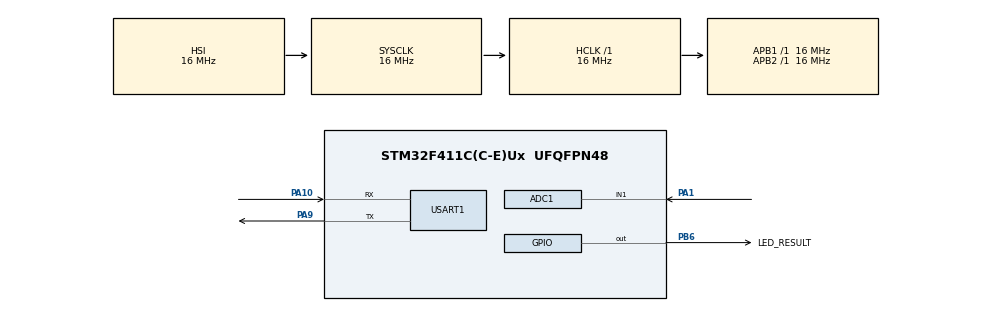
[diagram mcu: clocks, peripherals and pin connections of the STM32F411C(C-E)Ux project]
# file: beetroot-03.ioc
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ADC1.Channel-1\#ChannelRegularConversion=ADC_CHANNEL_1
ADC1.Channel-2\#ChannelRegularConversion=ADC_CHANNEL_VREFINT
ADC1.ContinuousConvMode=DISABLE
ADC1.NbrOfConversion=2
ADC1.NbrOfConversionFlag=1
ADC1.Rank-1\#ChannelRegularConversion=1
ADC1.Rank-2\#ChannelRegularConversion=2
ADC1.SamplingTime-1\#ChannelRegularConversion=ADC_SAMPLETIME_480CYCLES
ADC1.SamplingTime-2\#ChannelRegularConversion=ADC_SAMPLETIME_480CYCLES
ADC1.ScanConvMode=ENABLE
ADC1.master=1
Dma.ADC1.0.Direction=DMA_PERIPH_TO_MEMORY
Dma.ADC1.0.FIFOMode=DMA_FIFOMODE_DISABLE
Dma.ADC1.0.Instance=DMA2_Stream0
Dma.ADC1.0.MemDataAlignment=DMA_MDATAALIGN_HALFWORD
Dma.ADC1.0.MemInc=DMA_MINC_ENABLE
Dma.ADC1.0.Mode=DMA_NORMAL
Dma.ADC1.0.PeriphDataAlignment=DMA_PDATAALIGN_HALFWORD
Dma.ADC1.0.PeriphInc=DMA_PINC_DISABLE
Dma.ADC1.0.Priority=DMA_PRIORITY_LOW
Dma.Request0=ADC1
Mcu.Family=STM32F4
Mcu.Name=STM32F411C(C-E)Ux
Mcu.Package=UFQFPN48
NVIC.DMA2_Stream0_IRQn=true\:0\:0\:false\:false\:true\:false\:true\:true
NVIC.PriorityGroup=NVIC_PRIORITYGROUP_4
PA1.Signal=ADCx_IN1
PA10.Mode=Asynchronous
PA10.Signal=USART1_RX
PA13.Mode=Serial_Wire
PA13.Signal=SYS_JTMS-SWDIO
PA14.Mode=Serial_Wire
PA14.Signal=SYS_JTCK-SWCLK
PA9.Mode=Asynchronous
PA9.Signal=USART1_TX
PB6.GPIO_Label=LED_RESULT
PB6.Signal=GPIO_Output
ProjectManager.HeapSize=0x200
ProjectManager.StackSize=0x400
ProjectManager.TargetToolchain=CMake
RCC.AHBFreq_Value=16000000
RCC.APB1Freq_Value=16000000
RCC.APB2Freq_Value=16000000
RCC.CortexFreq_Value=16000000
RCC.HSE_VALUE=25000000
RCC.HSI_VALUE=16000000
RCC.LSE_VALUE=32768
RCC.SYSCLKFreq_VALUE=16000000
RCC.VCOOutputFreq_Value=192000000
SH.ADCx_IN1.0=ADC1_IN1,IN1
USART1.VirtualMode=VM_ASYNC
VP_ADC1_Vref_Input.Mode=IN-Vrefint
board=custom

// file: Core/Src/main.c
/* USER CODE BEGIN Header */
/**
  ******************************************************************************
  * @file           : main.c
  * @brief          : Main program body
  ******************************************************************************
  * @attention
  *
  * Copyright (c) 2026 STMicroelectronics.
  * All rights reserved.
  *
  * This software is licensed under terms that can be found in the LICENSE file
  * in the root directory of this software component.
  * If no LICENSE file comes with this software, it is provided AS-IS.
  *
  ******************************************************************************
  */
/* USER CODE END Header */
#include "main.h"

/* USER CODE BEGIN Includes */
#include <stdio.h>
/* USER CODE END Includes */

ADC_HandleTypeDef hadc1;
DMA_HandleTypeDef hdma_adc1;

UART_HandleTypeDef huart1;

void SystemClock_Config(void);
static void MX_GPIO_Init(void);
static void MX_DMA_Init(void);
static void MX_ADC1_Init(void);
static void MX_USART1_UART_Init(void);

/* USER CODE BEGIN 0 */
typedef struct {
  uint16_t raw;
  uint16_t vrefint_raw;
  float    v_raw;   // за формулою з 3.3 В
  float    vdda;    // реальна VDDA
  float    v_cal;   // калібрована
  float    err_pct; // похибка, %
} adc_sample_t;
static volatile adc_sample_t actual_sample;

static uint16_t adc_buf[2];          // [0] = IN1, [1] = VREFINT
static volatile uint8_t adc_done = 0;

void HAL_ADC_ConvCpltCallback(ADC_HandleTypeDef *hadc)
{
  if (hadc->Instance == ADC1)
  {
    adc_done = 1;
  }
}
/* USER CODE END 0 */

int main(void)
{

  /* MCU Configuration--------------------------------------------------------*/

  /* Reset of all peripherals, Initializes the Flash interface and the Systick. */
  HAL_Init();

  /* Configure the system clock */
  SystemClock_Config();

  /* Initialize all configured peripherals */
  MX_GPIO_Init();
  MX_DMA_Init();
  MX_ADC1_Init();
  MX_USART1_UART_Init();

  /* Infinite loop */
  /* USER CODE BEGIN WHILE */
  uint32_t t_last = 0;
  uint16_t vrefint_cal = *VREFINT_CAL_ADDR;

  while (1)
  {
    if (HAL_GetTick() - t_last >= 100) {
      t_last += 100;
      HAL_ADC_Start_DMA(&hadc1, (uint32_t *)adc_buf, 2);
    }
    if (adc_done) {
      adc_done = 0;

      uint16_t raw = adc_buf[0];
      uint16_t vrefint_raw = adc_buf[1];
      float v_raw =  raw * 3.3 / 4095;
      float vdda = 3.3 * vrefint_cal / vrefint_raw;
      float v_cal = raw * vdda / 4095;
      float err_pct = (v_raw - v_cal) / v_cal * 100;

      actual_sample = (adc_sample_t){
        .raw = raw,
        .vrefint_raw = vrefint_raw,
        .v_raw = v_raw,
        .vdda = vdda,
        .v_cal = v_cal,
        .err_pct = err_pct
      };

      char msg[128];
      int len = snprintf(msg, sizeof msg,
          "raw=%u vref=%u v_raw=%.3f vdda=%.3f v_cal=%.3f err=%.2f%%\r\n",
          actual_sample.raw, actual_sample.vrefint_raw,
          actual_sample.v_raw, actual_sample.vdda,
          actual_sample.v_cal, actual_sample.err_pct);
      HAL_UART_Transmit(&huart1, (uint8_t *)msg, len, HAL_MAX_DELAY);
    }
    /* USER CODE END WHILE */

  }
}

void SystemClock_Config(void)
{
  RCC_OscInitTypeDef RCC_OscInitStruct = {0};
  RCC_ClkInitTypeDef RCC_ClkInitStruct = {0};

  /** Configure the main internal regulator output voltage
  */
  __HAL_RCC_PWR_CLK_ENABLE();
  __HAL_PWR_VOLTAGESCALING_CONFIG(PWR_REGULATOR_VOLTAGE_SCALE1);

  /** Initializes the RCC Oscillators according to the specified parameters
  * in the RCC_OscInitTypeDef structure.
  */
  RCC_OscInitStruct.OscillatorType = RCC_OSCILLATORTYPE_HSI;
  RCC_OscInitStruct.HSIState = RCC_HSI_ON;
  RCC_OscInitStruct.HSICalibrationValue = RCC_HSICALIBRATION_DEFAULT;
  RCC_OscInitStruct.PLL.PLLState = RCC_PLL_NONE;
  if (HAL_RCC_OscConfig(&RCC_OscInitStruct) != HAL_OK)
  {
    Error_Handler();
  }

  /** Initializes the CPU, AHB and APB buses clocks
  */
  RCC_ClkInitStruct.ClockType = RCC_CLOCKTYPE_HCLK|RCC_CLOCKTYPE_SYSCLK
                              |RCC_CLOCKTYPE_PCLK1|RCC_CLOCKTYPE_PCLK2;
  RCC_ClkInitStruct.SYSCLKSource = RCC_SYSCLKSOURCE_HSI;
  RCC_ClkInitStruct.AHBCLKDivider = RCC_SYSCLK_DIV1;
  RCC_ClkInitStruct.APB1CLKDivider = RCC_HCLK_DIV1;
  RCC_ClkInitStruct.APB2CLKDivider = RCC_HCLK_DIV1;

  if (HAL_RCC_ClockConfig(&RCC_ClkInitStruct, FLASH_LATENCY_0) != HAL_OK)
  {
    Error_Handler();
  }
}

static void MX_ADC1_Init(void)
{

  ADC_ChannelConfTypeDef sConfig = {0};

  /** Configure the global features of the ADC (Clock, Resolution, Data Alignment and number of conversion)
  */
  hadc1.Instance = ADC1;
  hadc1.Init.ClockPrescaler = ADC_CLOCK_SYNC_PCLK_DIV2;
  hadc1.Init.Resolution = ADC_RESOLUTION_12B;
  hadc1.Init.ScanConvMode = ENABLE;
  hadc1.Init.ContinuousConvMode = DISABLE;
  hadc1.Init.DiscontinuousConvMode = DISABLE;
  hadc1.Init.ExternalTrigConvEdge = ADC_EXTERNALTRIGCONVEDGE_NONE;
  hadc1.Init.ExternalTrigConv = ADC_SOFTWARE_START;
  hadc1.Init.DataAlign = ADC_DATAALIGN_RIGHT;
  hadc1.Init.NbrOfConversion = 2;
  hadc1.Init.DMAContinuousRequests = DISABLE;
  hadc1.Init.EOCSelection = ADC_EOC_SINGLE_CONV;
  if (HAL_ADC_Init(&hadc1) != HAL_OK)
  {
    Error_Handler();
  }

  /** Configure for the selected ADC regular channel its corresponding rank in the sequencer and its sample time.
  */
  sConfig.Channel = ADC_CHANNEL_1;
  sConfig.Rank = 1;
  sConfig.SamplingTime = ADC_SAMPLETIME_480CYCLES;
  if (HAL_ADC_ConfigChannel(&hadc1, &sConfig) != HAL_OK)
  {
    Error_Handler();
  }

  /** Configure for the selected ADC regular channel its corresponding rank in the sequencer and its sample time.
  */
  sConfig.Channel = ADC_CHANNEL_VREFINT;
  sConfig.Rank = 2;
  if (HAL_ADC_ConfigChannel(&hadc1, &sConfig) != HAL_OK)
  {
    Error_Handler();
  }

}

static void MX_USART1_UART_Init(void)
{

  huart1.Instance = USART1;
  huart1.Init.BaudRate = 115200;
  huart1.Init.WordLength = UART_WORDLENGTH_8B;
  huart1.Init.StopBits = UART_STOPBITS_1;
  huart1.Init.Parity = UART_PARITY_NONE;
  huart1.Init.Mode = UART_MODE_TX_RX;
  huart1.Init.HwFlowCtl = UART_HWCONTROL_NONE;
  huart1.Init.OverSampling = UART_OVERSAMPLING_16;
  if (HAL_UART_Init(&huart1) != HAL_OK)
  {
    Error_Handler();
  }

}

static void MX_DMA_Init(void)
{

  /* DMA controller clock enable */
  __HAL_RCC_DMA2_CLK_ENABLE();

  /* DMA interrupt init */
  /* DMA2_Stream0_IRQn interrupt configuration */
  HAL_NVIC_SetPriority(DMA2_Stream0_IRQn, 0, 0);
  HAL_NVIC_EnableIRQ(DMA2_Stream0_IRQn);

}

static void MX_GPIO_Init(void)
{
  GPIO_InitTypeDef GPIO_InitStruct = {0};

  /* GPIO Ports Clock Enable */
  __HAL_RCC_GPIOA_CLK_ENABLE();
  __HAL_RCC_GPIOB_CLK_ENABLE();

  /*Configure GPIO pin Output Level */
  HAL_GPIO_WritePin(LED_RESULT_GPIO_Port, LED_RESULT_Pin, GPIO_PIN_RESET);

  /*Configure GPIO pin : LED_RESULT_Pin */
  GPIO_InitStruct.Pin = LED_RESULT_Pin;
  GPIO_InitStruct.Mode = GPIO_MODE_OUTPUT_PP;
  GPIO_InitStruct.Pull = GPIO_NOPULL;
  GPIO_InitStruct.Speed = GPIO_SPEED_FREQ_LOW;
  HAL_GPIO_Init(LED_RESULT_GPIO_Port, &GPIO_InitStruct);

}

void Error_Handler(void)
{
  __disable_irq();
  while (1)
  {
  }
}
